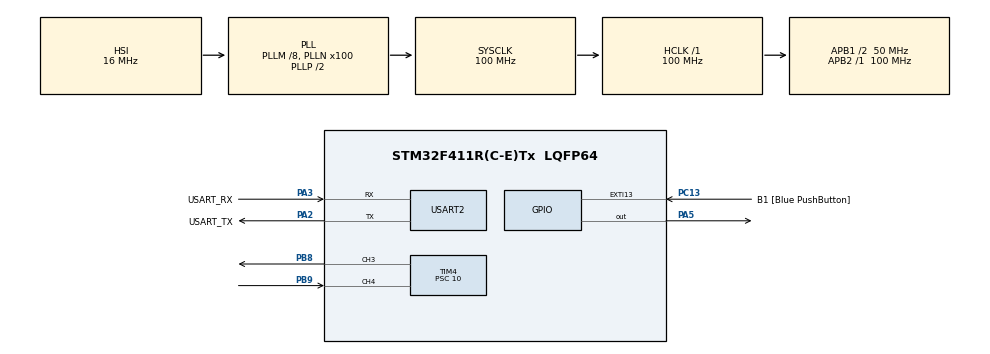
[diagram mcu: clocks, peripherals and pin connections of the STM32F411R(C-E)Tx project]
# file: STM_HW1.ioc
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Mcu.Family=STM32F4
Mcu.Name=STM32F411R(C-E)Tx
Mcu.Package=LQFP64
NVIC.PriorityGroup=NVIC_PRIORITYGROUP_0
NVIC.TIM3_IRQn=true\:0\:0\:false\:false\:true\:true\:true
NVIC.TIM4_IRQn=true\:0\:0\:false\:false\:true\:true\:true
PA13.GPIO_Label=TMS
PA13.Mode=Serial_Wire
PA13.Signal=SYS_JTMS-SWDIO
PA14.GPIO_Label=TCK
PA14.Mode=Serial_Wire
PA14.Signal=SYS_JTCK-SWCLK
PA2.GPIO_Label=USART_TX
PA2.Mode=Asynchronous
PA2.Signal=USART2_TX
PA3.GPIO_Label=USART_RX
PA3.Mode=Asynchronous
PA3.Signal=USART2_RX
PA5.Signal=GPIO_Output
PB3.GPIO_Label=SWO
PB3.Signal=SYS_JTDO-SWO
PB8.Signal=S_TIM4_CH3
PB9.Signal=S_TIM4_CH4
PC13-ANTI_TAMP.GPIO_Label=B1 [Blue PushButton]
PC13-ANTI_TAMP.GPIO_ModeDefaultEXTI=GPIO_MODE_IT_FALLING
PC13-ANTI_TAMP.Signal=GPXTI13
PC14-OSC32_IN.Mode=LSE-External-Oscillator
PC14-OSC32_IN.Signal=RCC_OSC32_IN
PC15-OSC32_OUT.Mode=LSE-External-Oscillator
PC15-OSC32_OUT.Signal=RCC_OSC32_OUT
PH0\ -\ OSC_IN.Mode=HSE-External-Clock-Source
PH0\ -\ OSC_IN.Signal=RCC_OSC_IN
PH1\ -\ OSC_OUT.Mode=HSE-External-Clock-Source
PH1\ -\ OSC_OUT.Signal=RCC_OSC_OUT
ProjectManager.HeapSize=0x200
ProjectManager.StackSize=0x400
ProjectManager.TargetToolchain=STM32CubeIDE
RCC.48MHZClocksFreq_Value=50000000
RCC.AHBFreq_Value=100000000
RCC.APB1CLKDivider=RCC_HCLK_DIV2
RCC.APB1Freq_Value=50000000
RCC.APB1TimFreq_Value=100000000
RCC.APB2Freq_Value=100000000
RCC.APB2TimFreq_Value=100000000
RCC.CortexFreq_Value=100000000
RCC.FLatency-AdvancedSettings=FLASH_LATENCY_3
RCC.HCLKFreq_Value=100000000
RCC.HSE_VALUE=8000000
RCC.HSI_VALUE=16000000
RCC.PLLM=8
RCC.PLLN=100
RCC.SYSCLKFreq_VALUE=100000000
RCC.SYSCLKSource=RCC_SYSCLKSOURCE_PLLCLK
RCC.VCOOutputFreq_Value=200000000
SH.S_TIM4_CH3.0=TIM4_CH3,Output Compare3 CH3
SH.S_TIM4_CH4.0=TIM4_CH4,Input_Capture4_from_TI4
TIM3.CounterMode=TIM_COUNTERMODE_DOWN
TIM3.Period=65530
TIM3.Prescaler=763
TIM4.Channel-Input_Capture4_from_TI4=TIM_CHANNEL_4
TIM4.Channel-Output\ Compare3\ CH3=TIM_CHANNEL_3
TIM4.ICFilter_CH4=0
TIM4.OCMode_3=TIM_OCMODE_TOGGLE
TIM4.Period=50000
TIM4.Prescaler=10
TIM4.Pulse-Output\ Compare3\ CH3=10000
USART2.VirtualMode=VM_ASYNC
VP_TIM3_VS_ClockSourceINT.Mode=Internal
VP_TIM4_VS_ClockSourceINT.Mode=Internal
board=NUCLEO-F411RE

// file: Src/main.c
/* USER CODE BEGIN Header */
/**
  ******************************************************************************
  * @file           : main.c
  * @brief          : Main program body
  ******************************************************************************
  * @attention
  *
  * <h2><center>&copy; Copyright (c) 2020 STMicroelectronics.
  * All rights reserved.</center></h2>
  *
  * This software component is licensed by ST under BSD 3-Clause license,
  * the "License"; You may not use this file except in compliance with the
  * License. You may obtain a copy of the License at:
  *                        opensource.org/licenses/BSD-3-Clause
  *
  ******************************************************************************
  */
/* USER CODE END Header */

#include "main.h"

TIM_HandleTypeDef htim3;
TIM_HandleTypeDef htim4;

UART_HandleTypeDef huart2;

void SystemClock_Config(void);
static void MX_GPIO_Init(void);
static void MX_TIM3_Init(void);
static void MX_USART2_UART_Init(void);
static void MX_TIM4_Init(void);

/* USER CODE BEGIN 0 */
//---- PART 2-3 ----
uint32_t IC_Value1=0;
uint32_t IC_Value2=0;
uint32_t difference=0;
uint32_t frequency=0;
uint8_t is_first_captured=0;

void HAL_TIM_IC_CaptureCallback(TIM_HandleTypeDef *htim){
	if(htim->Instance == TIM4){
		if(is_first_captured == 0){
			IC_Value1=HAL_TIM_ReadCapturedValue(htim, TIM_CHANNEL_4);
			is_first_captured = 1;
		}
		else{
			IC_Value2=HAL_TIM_ReadCapturedValue(htim, TIM_CHANNEL_4);
			if(IC_Value2 > IC_Value1)
				difference = (IC_Value2 - IC_Value1)/2;		// ONE RISING ONE FALLING EDGE

			if(difference > 0){
				frequency = 10000000/difference;	//100MHz with 10 prescalar = 10 MHz

				is_first_captured=0;
			}
		}
	}
}

/* USER CODE END 0 */

int main(void)
{

  /* MCU Configuration--------------------------------------------------------*/

  /* Reset of all peripherals, Initializes the Flash interface and the Systick. */
  HAL_Init();

  /* Configure the system clock */
  SystemClock_Config();

  /* Initialize all configured peripherals */
  MX_GPIO_Init();
  MX_TIM3_Init();
  MX_USART2_UART_Init();
  MX_TIM4_Init();
  /* USER CODE BEGIN 2 */
  //---- PART 1 ----
  HAL_TIM_Base_Start_IT(&htim3);
  //---- PART 2-3 ----
  HAL_TIM_OC_Start_IT(&htim4, TIM_CHANNEL_3);
  HAL_TIM_IC_Start_IT(&htim4, TIM_CHANNEL_4);
  /* USER CODE END 2 */

  /* Infinite loop */
  while (1)
  {

  }
}

void SystemClock_Config(void)
{
  RCC_OscInitTypeDef RCC_OscInitStruct = {0};
  RCC_ClkInitTypeDef RCC_ClkInitStruct = {0};

  /** Configure the main internal regulator output voltage
  */
  __HAL_RCC_PWR_CLK_ENABLE();
  __HAL_PWR_VOLTAGESCALING_CONFIG(PWR_REGULATOR_VOLTAGE_SCALE1);
  /** Initializes the CPU, AHB and APB busses clocks
  */
  RCC_OscInitStruct.OscillatorType = RCC_OSCILLATORTYPE_HSI;
  RCC_OscInitStruct.HSIState = RCC_HSI_ON;
  RCC_OscInitStruct.HSICalibrationValue = RCC_HSICALIBRATION_DEFAULT;
  RCC_OscInitStruct.PLL.PLLState = RCC_PLL_ON;
  RCC_OscInitStruct.PLL.PLLSource = RCC_PLLSOURCE_HSI;
  RCC_OscInitStruct.PLL.PLLM = 8;
  RCC_OscInitStruct.PLL.PLLN = 100;
  RCC_OscInitStruct.PLL.PLLP = RCC_PLLP_DIV2;
  RCC_OscInitStruct.PLL.PLLQ = 4;
  if (HAL_RCC_OscConfig(&RCC_OscInitStruct) != HAL_OK)
  {
    Error_Handler();
  }
  /** Initializes the CPU, AHB and APB busses clocks
  */
  RCC_ClkInitStruct.ClockType = RCC_CLOCKTYPE_HCLK|RCC_CLOCKTYPE_SYSCLK
                              |RCC_CLOCKTYPE_PCLK1|RCC_CLOCKTYPE_PCLK2;
  RCC_ClkInitStruct.SYSCLKSource = RCC_SYSCLKSOURCE_PLLCLK;
  RCC_ClkInitStruct.AHBCLKDivider = RCC_SYSCLK_DIV1;
  RCC_ClkInitStruct.APB1CLKDivider = RCC_HCLK_DIV2;
  RCC_ClkInitStruct.APB2CLKDivider = RCC_HCLK_DIV1;

  if (HAL_RCC_ClockConfig(&RCC_ClkInitStruct, FLASH_LATENCY_3) != HAL_OK)
  {
    Error_Handler();
  }
}

static void MX_TIM3_Init(void)
{

  TIM_ClockConfigTypeDef sClockSourceConfig = {0};
  TIM_MasterConfigTypeDef sMasterConfig = {0};

  htim3.Instance = TIM3;
  htim3.Init.Prescaler = 763;
  htim3.Init.CounterMode = TIM_COUNTERMODE_DOWN;
  htim3.Init.Period = 65530;
  htim3.Init.ClockDivision = TIM_CLOCKDIVISION_DIV1;
  htim3.Init.AutoReloadPreload = TIM_AUTORELOAD_PRELOAD_DISABLE;
  if (HAL_TIM_Base_Init(&htim3) != HAL_OK)
  {
    Error_Handler();
  }
  sClockSourceConfig.ClockSource = TIM_CLOCKSOURCE_INTERNAL;
  if (HAL_TIM_ConfigClockSource(&htim3, &sClockSourceConfig) != HAL_OK)
  {
    Error_Handler();
  }
  sMasterConfig.MasterOutputTrigger = TIM_TRGO_RESET;
  sMasterConfig.MasterSlaveMode = TIM_MASTERSLAVEMODE_DISABLE;
  if (HAL_TIMEx_MasterConfigSynchronization(&htim3, &sMasterConfig) != HAL_OK)
  {
    Error_Handler();
  }

}

static void MX_TIM4_Init(void)
{

  TIM_ClockConfigTypeDef sClockSourceConfig = {0};
  TIM_MasterConfigTypeDef sMasterConfig = {0};
  TIM_OC_InitTypeDef sConfigOC = {0};
  TIM_IC_InitTypeDef sConfigIC = {0};

  htim4.Instance = TIM4;
  htim4.Init.Prescaler = 10;
  htim4.Init.CounterMode = TIM_COUNTERMODE_UP;
  htim4.Init.Period = 50000;
  htim4.Init.ClockDivision = TIM_CLOCKDIVISION_DIV1;
  htim4.Init.AutoReloadPreload = TIM_AUTORELOAD_PRELOAD_DISABLE;
  if (HAL_TIM_Base_Init(&htim4) != HAL_OK)
  {
    Error_Handler();
  }
  sClockSourceConfig.ClockSource = TIM_CLOCKSOURCE_INTERNAL;
  if (HAL_TIM_ConfigClockSource(&htim4, &sClockSourceConfig) != HAL_OK)
  {
    Error_Handler();
  }
  if (HAL_TIM_OC_Init(&htim4) != HAL_OK)
  {
    Error_Handler();
  }
  if (HAL_TIM_IC_Init(&htim4) != HAL_OK)
  {
    Error_Handler();
  }
  sMasterConfig.MasterOutputTrigger = TIM_TRGO_RESET;
  sMasterConfig.MasterSlaveMode = TIM_MASTERSLAVEMODE_DISABLE;
  if (HAL_TIMEx_MasterConfigSynchronization(&htim4, &sMasterConfig) != HAL_OK)
  {
    Error_Handler();
  }
  sConfigOC.OCMode = TIM_OCMODE_TOGGLE;
  sConfigOC.Pulse = 10000;
  sConfigOC.OCPolarity = TIM_OCPOLARITY_HIGH;
  sConfigOC.OCFastMode = TIM_OCFAST_DISABLE;
  if (HAL_TIM_OC_ConfigChannel(&htim4, &sConfigOC, TIM_CHANNEL_3) != HAL_OK)
  {
    Error_Handler();
  }
  sConfigIC.ICPolarity = TIM_INPUTCHANNELPOLARITY_RISING;
  sConfigIC.ICSelection = TIM_ICSELECTION_DIRECTTI;
  sConfigIC.ICPrescaler = TIM_ICPSC_DIV1;
  sConfigIC.ICFilter = 0;
  if (HAL_TIM_IC_ConfigChannel(&htim4, &sConfigIC, TIM_CHANNEL_4) != HAL_OK)
  {
    Error_Handler();
  }
  HAL_TIM_MspPostInit(&htim4);

}

static void MX_USART2_UART_Init(void)
{

  huart2.Instance = USART2;
  huart2.Init.BaudRate = 115200;
  huart2.Init.WordLength = UART_WORDLENGTH_8B;
  huart2.Init.StopBits = UART_STOPBITS_1;
  huart2.Init.Parity = UART_PARITY_NONE;
  huart2.Init.Mode = UART_MODE_TX_RX;
  huart2.Init.HwFlowCtl = UART_HWCONTROL_NONE;
  huart2.Init.OverSampling = UART_OVERSAMPLING_16;
  if (HAL_UART_Init(&huart2) != HAL_OK)
  {
    Error_Handler();
  }

}

static void MX_GPIO_Init(void)
{
  GPIO_InitTypeDef GPIO_InitStruct = {0};

  /* GPIO Ports Clock Enable */
  __HAL_RCC_GPIOC_CLK_ENABLE();
  __HAL_RCC_GPIOH_CLK_ENABLE();
  __HAL_RCC_GPIOA_CLK_ENABLE();
  __HAL_RCC_GPIOB_CLK_ENABLE();

  /*Configure GPIO pin Output Level */
  HAL_GPIO_WritePin(GPIOA, GPIO_PIN_5, GPIO_PIN_RESET);

  /*Configure GPIO pin : B1_Pin */
  GPIO_InitStruct.Pin = B1_Pin;
  GPIO_InitStruct.Mode = GPIO_MODE_IT_FALLING;
  GPIO_InitStruct.Pull = GPIO_NOPULL;
  HAL_GPIO_Init(B1_GPIO_Port, &GPIO_InitStruct);

  /*Configure GPIO pin : PA5 */
  GPIO_InitStruct.Pin = GPIO_PIN_5;
  GPIO_InitStruct.Mode = GPIO_MODE_OUTPUT_PP;
  GPIO_InitStruct.Pull = GPIO_NOPULL;
  GPIO_InitStruct.Speed = GPIO_SPEED_FREQ_LOW;
  HAL_GPIO_Init(GPIOA, &GPIO_InitStruct);

}

void Error_Handler(void)
{
}

/************************ (C) COPYRIGHT STMicroelectronics *****END OF FILE****/
